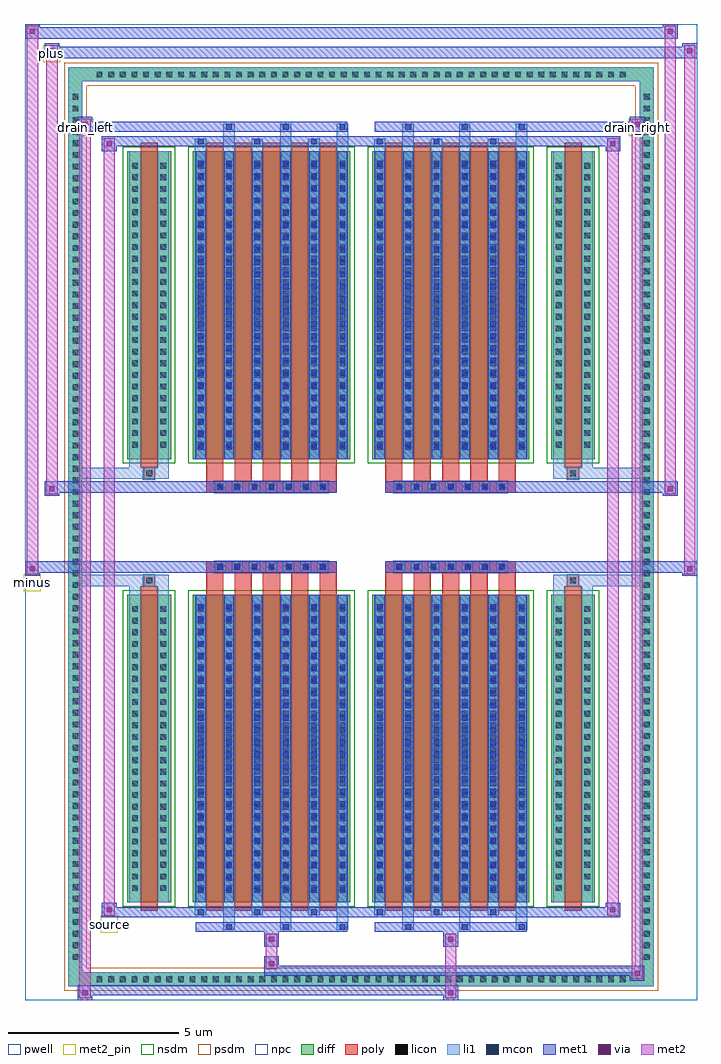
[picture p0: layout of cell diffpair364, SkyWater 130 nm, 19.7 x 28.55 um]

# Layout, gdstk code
import gdstk
lib = gdstk.Library(unit=1e-6, precision=5e-09)
def R(c, l, rs):  # rectangles x0, y0, x1, y1
    for r in rs: c.add(gdstk.rectangle(r[:2], r[2:], *l))
def A(c, l, x, y, w, h, nx, ny, dx, dy):  # array of equal rectangles
    R(c, l, [(x+i*dx, y+j*dy, x+i*dx+w, y+j*dy+h) for i in range(nx) for j in range(ny)])
def P(c, l, *ps):  # polygons
    for p in ps: c.add(gdstk.Polygon(p, *l))
pwell = (64, 44)
diff = (65, 20)
poly = (66, 20)
licon = (66, 44)
li1 = (67, 20)
mcon = (67, 44)
met1 = (68, 20)
via = (68, 44)
met2_pin = (69, 16)
met2 = (69, 20)
nsdm = (93, 44)
psdm = (94, 20)
npc = (95, 20)

diffpair364 = lib.new_cell('diffpair364')
R(diffpair364, pwell, [(-9.83,-13.84,9.83,14.71), (-7.15,-12.03,-0.01,-0.805), (0.01,-12.03,7.15,-0.805), (-7.15,0.805,-0.01,12.03), (0.01,0.805,7.15,12.03)])
A(diffpair364, diff, -7.855, -13.44, 0.41, 0.41, 46, 2, 0.34, 26.47)
A(diffpair364, diff, -8.56, -12.785, 0.41, 0.41, 1, 75, 0, 0.34)
A(diffpair364, diff, 8.15, -12.785, 0.41, 0.41, 1, 75, 0, 0.34)
R(diffpair364, diff, [(-7.855,-13.44,7.855,-13.03), (-8.56,-12.785,-8.15,12.785), (8.15,-12.785,8.56,12.785), (-6.84,-10.985,-5.56,-1.985), (-4.92,-10.985,-0.32,-1.985), (0.32,-10.985,4.92,-1.985), (5.56,-10.985,6.84,-1.985), (-6.84,1.985,-5.56,10.985), (-4.92,1.985,-0.32,10.985), (0.32,1.985,4.92,10.985), (5.56,1.985,6.84,10.985), (-7.855,13.03,7.855,13.44)])
P(diffpair364, diff, [(8.56,13.44),(-8.56,13.44),(-8.56,-13.03),(-8.15,-13.03),(-8.15,13.03),(8.15,13.03),(8.15,-13.03),(-8.15,-13.03),(-8.56,-13.03),(-8.56,-13.44),(8.56,-13.44)])
A(diffpair364, poly, -4.53, -11.235, 0.5, 9.5, 5, 2, 0.83, 12.97)
A(diffpair364, poly, 0.71, -11.235, 0.5, 9.5, 5, 2, 0.83, 12.97)
A(diffpair364, poly, -4.53, -1.735, 0.5, 0.4, 5, 2, 0.83, 3.07)
A(diffpair364, poly, 0.71, -1.735, 0.5, 0.4, 5, 2, 0.83, 3.07)
A(diffpair364, poly, -4.285, -1.335, 0.33, 0.33, 7, 2, 0.5, 2.34)
A(diffpair364, poly, 0.955, -1.335, 0.33, 0.33, 7, 2, 0.5, 2.34)
R(diffpair364, poly, [(-6.45,-11.235,-5.95,-1.735), (5.95,-11.235,6.45,-1.735), (-6.365,-1.735,-6.035,-1.405), (-6.365,-1.735,-6.035,-1.405), (6.035,-1.735,6.365,-1.405), (6.035,-1.735,6.365,-1.405), (-4.53,-1.335,-0.71,-1.005), (0.71,-1.335,4.53,-1.005), (-4.53,1.005,-0.71,1.335), (0.71,1.005,4.53,1.335), (-6.365,1.405,-6.035,1.735), (-6.365,1.405,-6.035,1.735), (6.035,1.405,6.365,1.735), (6.035,1.405,6.365,1.735), (-6.45,1.735,-5.95,11.235), (5.95,1.735,6.45,11.235)])
A(diffpair364, licon, -7.735, -13.32, 0.17, 0.17, 46, 2, 0.34, 26.47)
A(diffpair364, licon, -8.44, -12.665, 0.17, 0.17, 1, 75, 0, 0.34)
A(diffpair364, licon, 8.27, -12.665, 0.17, 0.17, 1, 75, 0, 0.34)
A(diffpair364, licon, -6.7, -10.65, 0.17, 0.17, 1, 25, 0, 0.34)
A(diffpair364, licon, -5.87, -10.65, 0.17, 0.17, 1, 25, 0, 0.34)
A(diffpair364, licon, -4.78, -10.65, 0.17, 0.17, 6, 25, 0.83, 0.34)
A(diffpair364, licon, 0.46, -10.65, 0.17, 0.17, 6, 25, 0.83, 0.34)
A(diffpair364, licon, 5.7, -10.65, 0.17, 0.17, 1, 25, 0, 0.34)
A(diffpair364, licon, 6.53, -10.65, 0.17, 0.17, 1, 25, 0, 0.34)
A(diffpair364, licon, -4.205, -1.255, 0.17, 0.17, 7, 2, 0.5, 2.34)
A(diffpair364, licon, 1.035, -1.255, 0.17, 0.17, 7, 2, 0.5, 2.34)
A(diffpair364, licon, -6.7, 2.32, 0.17, 0.17, 1, 25, 0, 0.34)
A(diffpair364, licon, -5.87, 2.32, 0.17, 0.17, 1, 25, 0, 0.34)
A(diffpair364, licon, -4.78, 2.32, 0.17, 0.17, 6, 25, 0.83, 0.34)
A(diffpair364, licon, 0.46, 2.32, 0.17, 0.17, 6, 25, 0.83, 0.34)
A(diffpair364, licon, 5.7, 2.32, 0.17, 0.17, 1, 25, 0, 0.34)
A(diffpair364, licon, 6.53, 2.32, 0.17, 0.17, 1, 25, 0, 0.34)
R(diffpair364, licon, [(-6.285,-1.655,-6.115,-1.485), (6.115,-1.655,6.285,-1.485), (-6.285,1.485,-6.115,1.655), (6.115,1.485,6.285,1.655)])
A(diffpair364, li1, -7.815, -13.4, 0.33, 0.33, 46, 2, 0.34, 26.47)
A(diffpair364, li1, -8.52, -12.745, 0.33, 0.33, 1, 75, 0, 0.34)
A(diffpair364, li1, 8.19, -12.745, 0.33, 0.33, 1, 75, 0, 0.34)
A(diffpair364, li1, -4.03, -11.79, 0.33, 0.805, 3, 2, 1.66, 22.775)
A(diffpair364, li1, -3.95, -11.79, 0.17, 0.17, 3, 2, 1.66, 23.41)
A(diffpair364, li1, 1.21, -11.79, 0.33, 0.805, 3, 2, 1.66, 22.775)
A(diffpair364, li1, 1.29, -11.79, 0.17, 0.17, 3, 2, 1.66, 23.41)
A(diffpair364, li1, -4.86, -11.36, 0.33, 0.375, 3, 2, 1.66, 22.345)
A(diffpair364, li1, -4.78, -11.36, 0.17, 0.17, 3, 2, 1.66, 22.55)
A(diffpair364, li1, 0.38, -11.36, 0.33, 0.375, 3, 2, 1.66, 22.345)
A(diffpair364, li1, 0.46, -11.36, 0.17, 0.17, 3, 2, 1.66, 22.55)
A(diffpair364, li1, -4.86, -10.985, 0.33, 9, 6, 2, 0.83, 12.97)
A(diffpair364, li1, 0.38, -10.985, 0.33, 9, 6, 2, 0.83, 12.97)
A(diffpair364, li1, -6.78, -10.73, 0.33, 0.33, 1, 25, 0, 0.34)
A(diffpair364, li1, -5.95, -10.73, 0.33, 0.33, 1, 25, 0, 0.34)
A(diffpair364, li1, -4.86, -10.73, 0.33, 0.33, 6, 25, 0.83, 0.34)
A(diffpair364, li1, 0.38, -10.73, 0.33, 0.33, 6, 25, 0.83, 0.34)
A(diffpair364, li1, 5.62, -10.73, 0.33, 0.33, 1, 25, 0, 0.34)
A(diffpair364, li1, 6.45, -10.73, 0.33, 0.33, 1, 25, 0, 0.34)
A(diffpair364, li1, -4.78, -10.71, 0.17, 0.17, 6, 24, 0.83, 0.36)
A(diffpair364, li1, -4.78, -10.71, 0.17, 8.45, 6, 2, 0.83, 12.97)
A(diffpair364, li1, 0.46, -10.71, 0.17, 0.17, 6, 24, 0.83, 0.36)
A(diffpair364, li1, 0.46, -10.71, 0.17, 8.45, 6, 2, 0.83, 12.97)
A(diffpair364, li1, -4.285, -1.335, 0.33, 0.33, 7, 2, 0.5, 2.34)
A(diffpair364, li1, 0.955, -1.335, 0.33, 0.33, 7, 2, 0.5, 2.34)
A(diffpair364, li1, -6.78, 2.24, 0.33, 0.33, 1, 25, 0, 0.34)
A(diffpair364, li1, -5.95, 2.24, 0.33, 0.33, 1, 25, 0, 0.34)
A(diffpair364, li1, -4.86, 2.24, 0.33, 0.33, 6, 25, 0.83, 0.34)
A(diffpair364, li1, 0.38, 2.24, 0.33, 0.33, 6, 25, 0.83, 0.34)
A(diffpair364, li1, 5.62, 2.24, 0.33, 0.33, 1, 25, 0, 0.34)
A(diffpair364, li1, 6.45, 2.24, 0.33, 0.33, 1, 25, 0, 0.34)
A(diffpair364, li1, -4.78, 2.26, 0.17, 0.17, 6, 24, 0.83, 0.36)
A(diffpair364, li1, 0.46, 2.26, 0.17, 0.17, 6, 24, 0.83, 0.36)
R(diffpair364, li1, [(-8.56,-13.44,-8.15,-13.03), (-8.56,-13.44,-8.15,-13.03), (-8.15,-13.44,8.15,-13.03), (8.15,-13.44,8.56,-13.03), (8.15,-13.44,8.56,-13.03), (-8.56,-13.03,-8.15,13.03), (8.15,-13.03,8.56,13.03), (-6.78,-10.985,-6.45,-1.985), (-5.95,-10.985,-5.62,-1.985), (5.62,-10.985,5.95,-1.985), (6.45,-10.985,6.78,-1.985), (-6.78,-1.985,-6.45,-1.405), (-5.95,-1.985,-5.62,-1.405), (5.62,-1.985,5.95,-1.405), (6.45,-1.985,6.78,-1.405), (-8.56,-1.735,-6.365,-1.405), (-6.78,-1.735,-6.365,-1.405), (-6.365,-1.735,-6.035,-1.405), (-6.035,-1.735,-5.62,-1.405), (5.62,-1.735,6.035,-1.405), (6.035,-1.735,6.365,-1.405), (6.035,-1.735,8.56,-1.405), (6.365,-1.735,6.78,-1.405), (-8.56,1.405,-6.365,1.735), (-6.78,1.405,-6.365,1.735), (-6.78,1.405,-6.45,1.985), (-6.365,1.405,-6.035,1.735), (-6.035,1.405,-5.62,1.735), (-5.95,1.405,-5.62,1.985), (5.62,1.405,6.035,1.735), (5.62,1.405,5.95,1.985), (6.035,1.405,6.365,1.735), (6.035,1.405,8.56,1.735), (6.365,1.405,6.78,1.735), (6.45,1.405,6.78,1.985), (-6.78,1.985,-6.45,10.985), (-5.95,1.985,-5.62,10.985), (5.62,1.985,5.95,10.985), (6.45,1.985,6.78,10.985), (-8.56,13.03,-8.15,13.44), (-8.56,13.03,-8.15,13.44), (-8.15,13.03,8.15,13.44), (8.15,13.03,8.56,13.44), (8.15,13.03,8.56,13.44)])
A(diffpair364, mcon, -3.95, -11.79, 0.17, 0.17, 3, 2, 1.66, 23.41)
A(diffpair364, mcon, 1.29, -11.79, 0.17, 0.17, 3, 2, 1.66, 23.41)
A(diffpair364, mcon, -4.78, -11.36, 0.17, 0.17, 3, 2, 1.66, 22.55)
A(diffpair364, mcon, 0.46, -11.36, 0.17, 0.17, 3, 2, 1.66, 22.55)
A(diffpair364, mcon, -4.78, -10.71, 0.17, 0.17, 6, 24, 0.83, 0.36)
A(diffpair364, mcon, 0.46, -10.71, 0.17, 0.17, 6, 24, 0.83, 0.36)
A(diffpair364, mcon, -4.205, -1.255, 0.17, 0.17, 7, 2, 0.5, 2.34)
A(diffpair364, mcon, 1.035, -1.255, 0.17, 0.17, 7, 2, 0.5, 2.34)
A(diffpair364, mcon, -4.78, 2.26, 0.17, 0.17, 6, 24, 0.83, 0.36)
A(diffpair364, mcon, 0.46, 2.26, 0.17, 0.17, 6, 24, 0.83, 0.36)
A(diffpair364, met1, -4.01, -11.85, 0.29, 0.29, 3, 2, 1.66, 23.41)
A(diffpair364, met1, 1.23, -11.85, 0.29, 0.29, 3, 2, 1.66, 23.41)
A(diffpair364, met1, -4.84, -11.42, 0.29, 0.29, 3, 2, 1.66, 22.55)
A(diffpair364, met1, 0.4, -11.42, 0.29, 0.29, 3, 2, 1.66, 22.55)
A(diffpair364, met1, -4.84, -10.985, 0.29, 9, 6, 2, 0.83, 12.97)
A(diffpair364, met1, 0.4, -10.985, 0.29, 9, 6, 2, 0.83, 12.97)
A(diffpair364, met1, -4.84, -10.77, 0.29, 0.29, 6, 24, 0.83, 0.36)
A(diffpair364, met1, 0.4, -10.77, 0.29, 0.29, 6, 24, 0.83, 0.36)
A(diffpair364, met1, -4.265, -1.315, 0.29, 0.29, 7, 2, 0.5, 2.34)
A(diffpair364, met1, 0.975, -1.315, 0.29, 0.29, 7, 2, 0.5, 2.34)
A(diffpair364, met1, -4.84, 2.2, 0.29, 0.29, 6, 24, 0.83, 0.36)
A(diffpair364, met1, 0.4, 2.2, 0.29, 0.29, 6, 24, 0.83, 0.36)
R(diffpair364, met1, [(-8.29,-13.84,-7.86,-13.41), (2.405,-13.84,2.835,-13.41), (-8.29,-13.7,2.835,-13.41), (7.86,-13.27,8.29,-12.84), (-2.835,-13.13,8.29,-12.84), (-2.835,-12.99,-2.405,-12.56), (-2.835,-12.28,-2.405,-11.85), (2.405,-12.28,2.835,-11.85), (-4.84,-11.85,-0.4,-11.56), (0.4,-11.85,4.84,-11.56), (-7.58,-11.42,-7.15,-10.99), (-7.58,-11.42,-4.84,-11.13), (-4.84,-11.42,-0.4,-11.13), (-0.4,-11.42,0.4,-11.13), (0.4,-11.42,4.84,-11.13), (4.84,-11.42,7.58,-11.13), (7.15,-11.42,7.58,-10.99), (-9.83,-1.435,-9.4,-1.005), (9.4,-1.435,9.83,-1.005), (-9.83,-1.335,-0.71,-1.005), (-4.53,-1.335,-0.71,-1.005), (0.71,-1.335,4.53,-1.005), (0.71,-1.335,9.83,-1.005), (-9.26,0.905,-8.83,1.335), (8.83,0.905,9.26,1.335), (-9.26,1.005,-4.53,1.335), (-4.53,1.005,-0.71,1.335), (0.71,1.005,4.53,1.335), (4.53,1.005,9.26,1.335), (-7.58,10.99,-7.15,11.42), (7.15,10.99,7.58,11.42), (-7.58,11.13,-4.84,11.42), (-4.84,11.13,-0.4,11.42), (-0.4,11.13,0.4,11.42), (0.4,11.13,4.84,11.42), (4.84,11.13,7.58,11.42), (-8.29,11.56,-7.86,11.99), (-8.29,11.56,-4.84,11.85), (-4.84,11.56,-0.4,11.85), (0.4,11.56,4.84,11.85), (4.84,11.56,8.29,11.85), (7.86,11.56,8.29,11.99), (-9.26,13.71,-8.83,14.14), (-9.26,13.71,-7.15,14.04), (-7.15,13.71,7.15,14.04), (7.15,13.71,9.83,14.04), (9.4,13.71,9.83,14.14), (-9.83,14.28,-9.4,14.71), (-9.83,14.28,-7.15,14.61), (-7.15,14.28,7.15,14.61), (7.15,14.28,9.26,14.61), (8.83,14.28,9.26,14.71)])
R(diffpair364, via, [(-8.15,-13.7,-8,-13.55), (2.545,-13.7,2.695,-13.55), (8,-13.13,8.15,-12.98), (-2.695,-12.85,-2.545,-12.7), (-2.695,-12.14,-2.545,-11.99), (2.545,-12.14,2.695,-11.99), (-7.44,-11.28,-7.29,-11.13), (7.29,-11.28,7.44,-11.13), (-9.69,-1.295,-9.54,-1.145), (9.54,-1.295,9.69,-1.145), (-9.12,1.045,-8.97,1.195), (8.97,1.045,9.12,1.195), (-7.44,11.13,-7.29,11.28), (7.29,11.13,7.44,11.28), (-8.15,11.7,-8,11.85), (8,11.7,8.15,11.85), (-9.12,13.85,-8.97,14), (9.54,13.85,9.69,14), (-9.69,14.42,-9.54,14.57), (8.97,14.42,9.12,14.57)])
R(diffpair364, met2_pin, [(-7.615,-11.87,-7.115,-11.37), (-9.865,-1.885,-9.365,-1.385), (-8.325,11.44,-7.825,11.94), (7.825,11.44,8.325,11.94), (-9.295,13.59,-8.795,14.09)])
R(diffpair364, met2, [(-8.24,-13.79,-7.91,-13.46), (-8.24,-13.79,-7.91,11.94), (2.455,-13.79,2.785,-13.46), (2.455,-13.46,2.785,-12.23), (7.91,-13.22,8.24,-12.89), (7.91,-13.22,8.24,11.94), (-2.785,-12.94,-2.455,-12.61), (-2.785,-12.61,-2.455,-12.23), (-2.785,-12.23,-2.455,-11.9), (2.455,-12.23,2.785,-11.9), (-7.53,-11.37,-7.2,-11.04), (-7.53,-11.37,-7.2,11.37), (7.2,-11.37,7.53,-11.04), (7.2,-11.37,7.53,11.37), (-9.78,-1.385,-9.45,-1.055), (-9.78,-1.385,-9.45,14.66), (9.45,-1.385,9.78,-1.055), (9.45,-1.385,9.78,14.09), (-9.21,0.955,-8.88,1.285), (-9.21,0.955,-8.88,14.09), (8.88,0.955,9.21,1.285), (8.88,0.955,9.21,14.66), (-7.53,11.04,-7.2,11.37), (7.2,11.04,7.53,11.37), (-8.24,11.61,-7.91,11.94), (7.91,11.61,8.24,11.94), (-9.21,13.76,-8.88,14.09), (9.45,13.76,9.78,14.09), (-9.78,14.33,-9.45,14.66), (8.88,14.33,9.21,14.66)])
P(diffpair364, met2, [(9.78,-1.385),(9.78,-1.385),(9.78,-1.055),(9.78,-1.055)],
  [(9.78,13.76),(9.78,13.76),(9.78,14.09),(9.78,14.09)],
  [(-9.45,-1.385),(-9.45,-1.385),(-9.45,-1.055),(-9.45,-1.055)],
  [(-9.45,14.33),(-9.45,14.33),(-9.45,14.66),(-9.45,14.66)],
  [(9.21,0.955),(9.21,0.955),(9.21,1.285),(9.21,1.285)],
  [(9.21,14.33),(9.21,14.33),(9.21,14.66),(9.21,14.66)],
  [(-8.88,0.955),(-8.88,0.955),(-8.88,1.285),(-8.88,1.285)],
  [(-8.88,13.76),(-8.88,13.76),(-8.88,14.09),(-8.88,14.09)],
  [(-7.91,-13.79),(-7.91,-13.79),(-7.91,-13.46),(-7.91,-13.46)],
  [(-7.91,11.61),(-7.91,11.61),(-7.91,11.94),(-7.91,11.94)],
  [(8.24,-13.22),(8.24,-13.22),(8.24,-12.89),(8.24,-12.89)],
  [(8.24,11.61),(8.24,11.61),(8.24,11.94),(8.24,11.94)],
  [(-7.2,-11.37),(-7.2,-11.37),(-7.2,-11.04),(-7.2,-11.04)],
  [(-7.2,11.04),(-7.2,11.04),(-7.2,11.37),(-7.2,11.37)],
  [(7.53,-11.37),(7.53,-11.37),(7.53,-11.04),(7.53,-11.04)],
  [(7.53,11.04),(7.53,11.04),(7.53,11.37),(7.53,11.37)])
R(diffpair364, nsdm, [(-6.97,-11.115,-5.43,-1.855), (-5.05,-11.115,-0.19,-1.855), (0.19,-11.115,5.05,-1.855), (5.43,-11.115,6.97,-1.855), (-6.97,1.855,-5.43,11.115), (-5.05,1.855,-0.19,11.115), (0.19,1.855,5.05,11.115), (5.43,1.855,6.97,11.115)])
P(diffpair364, psdm, [(8.69,13.57),(-8.69,13.57),(-8.69,-12.9),(-8.02,-12.9),(-8.02,12.9),(8.02,12.9),(8.02,-12.9),(-8.02,-12.9),(-8.69,-12.9),(-8.69,-13.57),(8.69,-13.57)])
A(diffpair364, npc, -4.305, -1.355, 0.37, 0.37, 7, 2, 0.5, 2.34)
A(diffpair364, npc, 0.935, -1.355, 0.37, 0.37, 7, 2, 0.5, 2.34)
R(diffpair364, npc, [(-6.385,-1.755,-6.015,-1.385), (6.015,-1.755,6.385,-1.385), (-4.305,-1.355,-3.435,-0.985), (-4.305,-1.355,-3.435,-0.985), (-3.805,-1.355,-2.935,-0.985), (-3.805,-1.355,-2.935,-0.985), (-3.305,-1.355,-2.435,-0.985), (-3.305,-1.355,-2.435,-0.985), (-2.805,-1.355,-1.935,-0.985), (-2.805,-1.355,-1.935,-0.985), (-2.305,-1.355,-1.435,-0.985), (-2.305,-1.355,-1.435,-0.985), (-1.805,-1.355,-0.935,-0.985), (-1.805,-1.355,-0.935,-0.985), (0.935,-1.355,1.805,-0.985), (0.935,-1.355,1.805,-0.985), (1.435,-1.355,2.305,-0.985), (1.435,-1.355,2.305,-0.985), (1.935,-1.355,2.805,-0.985), (1.935,-1.355,2.805,-0.985), (2.435,-1.355,3.305,-0.985), (2.435,-1.355,3.305,-0.985), (2.935,-1.355,3.805,-0.985), (2.935,-1.355,3.805,-0.985), (3.435,-1.355,4.305,-0.985), (3.435,-1.355,4.305,-0.985), (-4.305,0.985,-3.435,1.355), (-4.305,0.985,-3.435,1.355), (-3.805,0.985,-2.935,1.355), (-3.805,0.985,-2.935,1.355), (-3.305,0.985,-2.435,1.355), (-3.305,0.985,-2.435,1.355), (-2.805,0.985,-1.935,1.355), (-2.805,0.985,-1.935,1.355), (-2.305,0.985,-1.435,1.355), (-2.305,0.985,-1.435,1.355), (-1.805,0.985,-0.935,1.355), (-1.805,0.985,-0.935,1.355), (0.935,0.985,1.805,1.355), (0.935,0.985,1.805,1.355), (1.435,0.985,2.305,1.355), (1.435,0.985,2.305,1.355), (1.935,0.985,2.805,1.355), (1.935,0.985,2.805,1.355), (2.435,0.985,3.305,1.355), (2.435,0.985,3.305,1.355), (2.935,0.985,3.805,1.355), (2.935,0.985,3.805,1.355), (3.435,0.985,4.305,1.355), (3.435,0.985,4.305,1.355), (-6.385,1.385,-6.015,1.755), (6.015,1.385,6.385,1.755)])
diffpair364.add(gdstk.Label('minus', (-9.615,-1.635), layer=69, texttype=5))
diffpair364.add(gdstk.Label('drain_right', (8.075,11.69), layer=69, texttype=5))
diffpair364.add(gdstk.Label('drain_left', (-8.075,11.69), layer=69, texttype=5))
diffpair364.add(gdstk.Label('source', (-7.365,-11.62), layer=69, texttype=5))
diffpair364.add(gdstk.Label('plus', (-9.045,13.84), layer=69, texttype=5))

lib.write_gds('diffpair364.gds')
